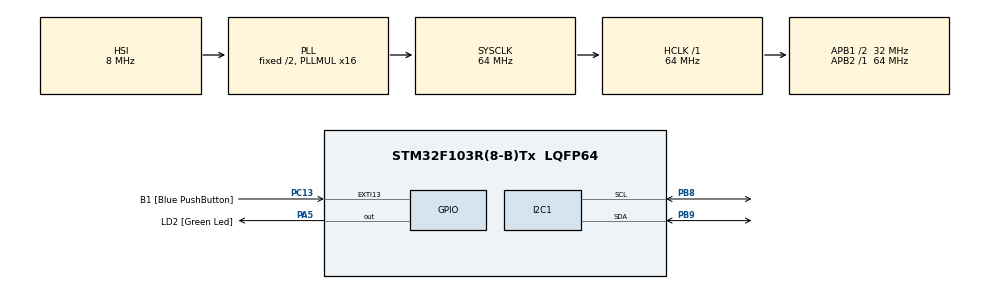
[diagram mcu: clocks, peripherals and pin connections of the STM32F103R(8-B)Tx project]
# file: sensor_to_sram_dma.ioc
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Dma.MEMTOMEM.0.Direction=DMA_MEMORY_TO_MEMORY
Dma.MEMTOMEM.0.Instance=DMA1_Channel1
Dma.MEMTOMEM.0.MemDataAlignment=DMA_MDATAALIGN_BYTE
Dma.MEMTOMEM.0.MemInc=DMA_MINC_DISABLE
Dma.MEMTOMEM.0.Mode=DMA_NORMAL
Dma.MEMTOMEM.0.PeriphDataAlignment=DMA_PDATAALIGN_BYTE
Dma.MEMTOMEM.0.PeriphInc=DMA_PINC_DISABLE
Dma.MEMTOMEM.0.Priority=DMA_PRIORITY_LOW
Dma.MEMTOMEM.1.Direction=DMA_MEMORY_TO_MEMORY
Dma.MEMTOMEM.1.Instance=DMA1_Channel2
Dma.MEMTOMEM.1.MemDataAlignment=DMA_MDATAALIGN_BYTE
Dma.MEMTOMEM.1.MemInc=DMA_MINC_DISABLE
Dma.MEMTOMEM.1.Mode=DMA_NORMAL
Dma.MEMTOMEM.1.PeriphDataAlignment=DMA_PDATAALIGN_BYTE
Dma.MEMTOMEM.1.PeriphInc=DMA_PINC_DISABLE
Dma.MEMTOMEM.1.Priority=DMA_PRIORITY_LOW
Dma.Request0=MEMTOMEM
Dma.Request1=MEMTOMEM
Mcu.Family=STM32F1
Mcu.Name=STM32F103R(8-B)Tx
Mcu.Package=LQFP64
NVIC.EXTI15_10_IRQn=true\:0\:0\:false\:false\:true\:true\:true\:true
NVIC.PriorityGroup=NVIC_PRIORITYGROUP_4
PA13.GPIO_Label=TMS
PA13.Mode=Serial_Wire
PA13.Signal=SYS_JTMS-SWDIO
PA14.GPIO_Label=TCK
PA14.Mode=Serial_Wire
PA14.Signal=SYS_JTCK-SWCLK
PA2.GPIO_Label=USART_TX
PA2.GPIO_Mode=GPIO_MODE_AF_PP
PA2.GPIO_PuPd=GPIO_NOPULL
PA2.GPIO_Speed=GPIO_SPEED_FREQ_LOW
PA2.Signal=USART2_TX
PA3.GPIO_Label=USART_RX
PA3.GPIO_Mode=GPIO_MODE_AF_PP
PA3.GPIO_PuPd=GPIO_NOPULL
PA3.GPIO_Speed=GPIO_SPEED_FREQ_LOW
PA3.Signal=USART2_RX
PA5.GPIO_Label=LD2 [Green Led]
PA5.GPIO_ModeDefaultOutputPP=GPIO_MODE_OUTPUT_PP
PA5.GPIO_PuPd=GPIO_NOPULL
PA5.GPIO_Speed=GPIO_SPEED_FREQ_LOW
PA5.Signal=GPIO_Output
PB3.GPIO_Label=SWO
PB3.Signal=SYS_JTDO-TRACESWO
PB8.Mode=I2C
PB8.Signal=I2C1_SCL
PB9.Mode=I2C
PB9.Signal=I2C1_SDA
PC13-TAMPER-RTC.GPIO_Label=B1 [Blue PushButton]
PC13-TAMPER-RTC.GPIO_PuPd=GPIO_NOPULL
PC13-TAMPER-RTC.Signal=GPXTI13
PC14-OSC32_IN.Mode=LSE-External-Oscillator
PC14-OSC32_IN.Signal=RCC_OSC32_IN
PC15-OSC32_OUT.Mode=LSE-External-Oscillator
PC15-OSC32_OUT.Signal=RCC_OSC32_OUT
PD0-OSC_IN.Mode=HSE-External-Clock-Source
PD0-OSC_IN.Signal=RCC_OSC_IN
PD1-OSC_OUT.Mode=HSE-External-Clock-Source
PD1-OSC_OUT.Signal=RCC_OSC_OUT
ProjectManager.HeapSize=0x200
ProjectManager.StackSize=0x400
ProjectManager.TargetToolchain=STM32CubeIDE
RCC.AHBFreq_Value=64000000
RCC.APB1CLKDivider=RCC_HCLK_DIV2
RCC.APB1Freq_Value=32000000
RCC.APB1TimFreq_Value=64000000
RCC.APB2Freq_Value=64000000
RCC.APB2TimFreq_Value=64000000
RCC.HCLKFreq_Value=64000000
RCC.PLLMUL=RCC_PLL_MUL16
RCC.RTCClockSelection=RCC_RTCCLKSOURCE_LSE
RCC.SYSCLKFreq_VALUE=64000000
RCC.SYSCLKSource=RCC_SYSCLKSOURCE_PLLCLK
RCC.USBFreq_Value=64000000
board=NUCLEO-F103RB

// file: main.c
/* USER CODE BEGIN Header */
/**
  ******************************************************************************
  * @file           : main.c
  * @brief          : Main program body
  ******************************************************************************
  * @attention
  *
  * Copyright (c) 2024 STMicroelectronics.
  * All rights reserved.
  *
  * This software is licensed under terms that can be found in the LICENSE file
  * in the root directory of this software component.
  * If no LICENSE file comes with this software, it is provided AS-IS.
  *
  ******************************************************************************
  */
/* USER CODE END Header */
#include "main.h"

/* USER CODE BEGIN Includes */
#include "Ms5611.h"
/* USER CODE END Includes */

I2C_HandleTypeDef hi2c1;

DMA_HandleTypeDef hdma_memtomem_dma1_channel1;
DMA_HandleTypeDef hdma_memtomem_dma1_channel2;

void SystemClock_Config(void);
static void MX_GPIO_Init(void);
static void MX_DMA_Init(void);
static void MX_I2C1_Init(void);
/* USER CODE BEGIN PFP */
void MS5611_DMA_MEM_TO_MEM_TEMP(int osr);
void MS5611_DMA_MEM_TO_MEM_PRESSURE(int osr);
/* USER CODE END PFP */

/* USER CODE BEGIN 0 */

uint8_t temperature,pressure;

uint32_t veriler_temp[10];
uint32_t veriler_pressure[10];

/* USER CODE END 0 */

int main(void)
{

  /* MCU Configuration--------------------------------------------------------*/

  /* Reset of all peripherals, Initializes the Flash interface and the Systick. */
  HAL_Init();

  /* Configure the system clock */
  SystemClock_Config();

  /* Initialize all configured peripherals */
  MX_GPIO_Init();
  MX_DMA_Init();
  MX_I2C1_Init();
  /* USER CODE BEGIN 2 */
  MS5611_Init();
  /* USER CODE END 2 */

  /* Infinite loop */
  while (1)
  {

    /* USER CODE BEGIN 3 */

	  MS5611_DMA_MEM_TO_MEM_TEMP(512);
	  MS5611_DMA_MEM_TO_MEM_PRESSURE(512);
  }
  /* USER CODE END 3 */
}

void SystemClock_Config(void)
{
  RCC_OscInitTypeDef RCC_OscInitStruct = {0};
  RCC_ClkInitTypeDef RCC_ClkInitStruct = {0};

  /** Initializes the RCC Oscillators according to the specified parameters
  * in the RCC_OscInitTypeDef structure.
  */
  RCC_OscInitStruct.OscillatorType = RCC_OSCILLATORTYPE_HSI;
  RCC_OscInitStruct.HSIState = RCC_HSI_ON;
  RCC_OscInitStruct.HSICalibrationValue = RCC_HSICALIBRATION_DEFAULT;
  RCC_OscInitStruct.PLL.PLLState = RCC_PLL_ON;
  RCC_OscInitStruct.PLL.PLLSource = RCC_PLLSOURCE_HSI_DIV2;
  RCC_OscInitStruct.PLL.PLLMUL = RCC_PLL_MUL16;
  if (HAL_RCC_OscConfig(&RCC_OscInitStruct) != HAL_OK)
  {
    Error_Handler();
  }
  /** Initializes the CPU, AHB and APB buses clocks
  */
  RCC_ClkInitStruct.ClockType = RCC_CLOCKTYPE_HCLK|RCC_CLOCKTYPE_SYSCLK
                              |RCC_CLOCKTYPE_PCLK1|RCC_CLOCKTYPE_PCLK2;
  RCC_ClkInitStruct.SYSCLKSource = RCC_SYSCLKSOURCE_PLLCLK;
  RCC_ClkInitStruct.AHBCLKDivider = RCC_SYSCLK_DIV1;
  RCC_ClkInitStruct.APB1CLKDivider = RCC_HCLK_DIV2;
  RCC_ClkInitStruct.APB2CLKDivider = RCC_HCLK_DIV1;

  if (HAL_RCC_ClockConfig(&RCC_ClkInitStruct, FLASH_LATENCY_2) != HAL_OK)
  {
    Error_Handler();
  }
}

static void MX_I2C1_Init(void)
{

  hi2c1.Instance = I2C1;
  hi2c1.Init.ClockSpeed = 100000;
  hi2c1.Init.DutyCycle = I2C_DUTYCYCLE_2;
  hi2c1.Init.OwnAddress1 = 0;
  hi2c1.Init.AddressingMode = I2C_ADDRESSINGMODE_7BIT;
  hi2c1.Init.DualAddressMode = I2C_DUALADDRESS_DISABLE;
  hi2c1.Init.OwnAddress2 = 0;
  hi2c1.Init.GeneralCallMode = I2C_GENERALCALL_DISABLE;
  hi2c1.Init.NoStretchMode = I2C_NOSTRETCH_DISABLE;
  if (HAL_I2C_Init(&hi2c1) != HAL_OK)
  {
    Error_Handler();
  }

}

static void MX_DMA_Init(void)
{

  /* DMA controller clock enable */
  __HAL_RCC_DMA1_CLK_ENABLE();

  /* Configure DMA request hdma_memtomem_dma1_channel1 on DMA1_Channel1 */
  hdma_memtomem_dma1_channel1.Instance = DMA1_Channel1;
  hdma_memtomem_dma1_channel1.Init.Direction = DMA_MEMORY_TO_MEMORY;
  hdma_memtomem_dma1_channel1.Init.PeriphInc = DMA_PINC_DISABLE;
  hdma_memtomem_dma1_channel1.Init.MemInc = DMA_MINC_DISABLE;
  hdma_memtomem_dma1_channel1.Init.PeriphDataAlignment = DMA_PDATAALIGN_BYTE;
  hdma_memtomem_dma1_channel1.Init.MemDataAlignment = DMA_MDATAALIGN_BYTE;
  hdma_memtomem_dma1_channel1.Init.Mode = DMA_NORMAL;
  hdma_memtomem_dma1_channel1.Init.Priority = DMA_PRIORITY_LOW;
  if (HAL_DMA_Init(&hdma_memtomem_dma1_channel1) != HAL_OK)
  {
    Error_Handler( );
  }

  /* Configure DMA request hdma_memtomem_dma1_channel2 on DMA1_Channel2 */
  hdma_memtomem_dma1_channel2.Instance = DMA1_Channel2;
  hdma_memtomem_dma1_channel2.Init.Direction = DMA_MEMORY_TO_MEMORY;
  hdma_memtomem_dma1_channel2.Init.PeriphInc = DMA_PINC_DISABLE;
  hdma_memtomem_dma1_channel2.Init.MemInc = DMA_MINC_DISABLE;
  hdma_memtomem_dma1_channel2.Init.PeriphDataAlignment = DMA_PDATAALIGN_BYTE;
  hdma_memtomem_dma1_channel2.Init.MemDataAlignment = DMA_MDATAALIGN_BYTE;
  hdma_memtomem_dma1_channel2.Init.Mode = DMA_NORMAL;
  hdma_memtomem_dma1_channel2.Init.Priority = DMA_PRIORITY_LOW;
  if (HAL_DMA_Init(&hdma_memtomem_dma1_channel2) != HAL_OK)
  {
    Error_Handler( );
  }

}

static void MX_GPIO_Init(void)
{
  GPIO_InitTypeDef GPIO_InitStruct = {0};

  /* GPIO Ports Clock Enable */
  __HAL_RCC_GPIOC_CLK_ENABLE();
  __HAL_RCC_GPIOD_CLK_ENABLE();
  __HAL_RCC_GPIOA_CLK_ENABLE();
  __HAL_RCC_GPIOB_CLK_ENABLE();

  /*Configure GPIO pin Output Level */
  HAL_GPIO_WritePin(LD2_GPIO_Port, LD2_Pin, GPIO_PIN_RESET);

  /*Configure GPIO pin : B1_Pin */
  GPIO_InitStruct.Pin = B1_Pin;
  GPIO_InitStruct.Mode = GPIO_MODE_IT_RISING;
  GPIO_InitStruct.Pull = GPIO_NOPULL;
  HAL_GPIO_Init(B1_GPIO_Port, &GPIO_InitStruct);

  /*Configure GPIO pins : USART_TX_Pin USART_RX_Pin */
  GPIO_InitStruct.Pin = USART_TX_Pin|USART_RX_Pin;
  GPIO_InitStruct.Mode = GPIO_MODE_AF_PP;
  GPIO_InitStruct.Speed = GPIO_SPEED_FREQ_LOW;
  HAL_GPIO_Init(GPIOA, &GPIO_InitStruct);

  /*Configure GPIO pin : LD2_Pin */
  GPIO_InitStruct.Pin = LD2_Pin;
  GPIO_InitStruct.Mode = GPIO_MODE_OUTPUT_PP;
  GPIO_InitStruct.Pull = GPIO_NOPULL;
  GPIO_InitStruct.Speed = GPIO_SPEED_FREQ_LOW;
  HAL_GPIO_Init(LD2_GPIO_Port, &GPIO_InitStruct);

  /* EXTI interrupt init*/
  HAL_NVIC_SetPriority(EXTI15_10_IRQn, 0, 0);
  HAL_NVIC_EnableIRQ(EXTI15_10_IRQn);

}

/* USER CODE BEGIN 4 */

void MS5611_DMA_MEM_TO_MEM_TEMP(int osr)
{
    for(int i = 0; i < 10; i++)
    {
        temperature = MS5611_GetTemperature(osr);

        HAL_DMA_Start(&hdma_memtomem_dma1_channel1, (uint32_t)&temperature, (uint32_t)(veriler_temp + i), sizeof(temperature));

        HAL_DMA_PollForTransfer(&hdma_memtomem_dma1_channel1, HAL_DMA_FULL_TRANSFER, HAL_MAX_DELAY);

        if( i == 10) {i = 0;}
    }
}

void MS5611_DMA_MEM_TO_MEM_PRESSURE(int osr)
{
    for(int i = 0; i < 10; i++)
    {
        pressure = MS5611_GetPressure(osr);

        HAL_DMA_Start(&hdma_memtomem_dma1_channel2, (uint32_t)&pressure, (uint32_t)(veriler_pressure + i), sizeof(pressure));

        HAL_DMA_PollForTransfer(&hdma_memtomem_dma1_channel2, HAL_DMA_FULL_TRANSFER, HAL_MAX_DELAY);

        if( i == 10) {i = 0;}
    }
}

/* USER CODE END 4 */

void Error_Handler(void)
{
  __disable_irq();
  while (1)
  {
  }
}
